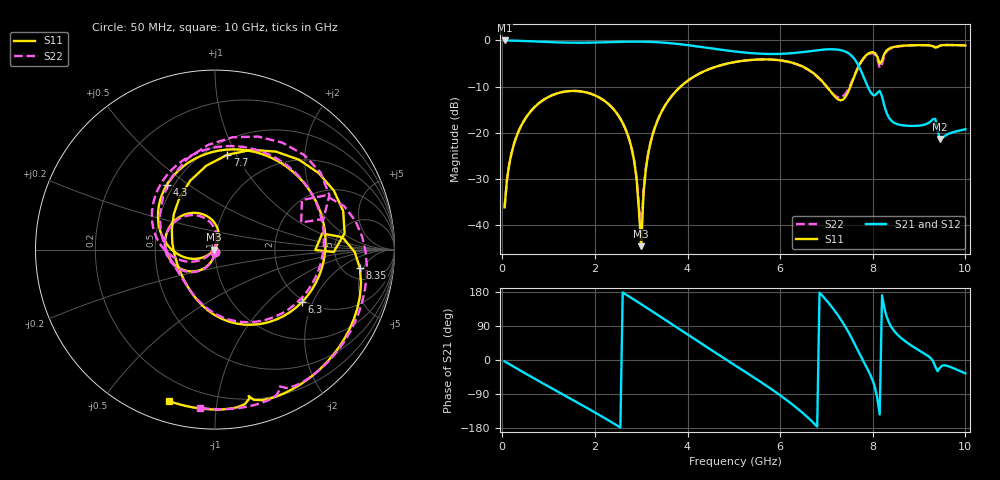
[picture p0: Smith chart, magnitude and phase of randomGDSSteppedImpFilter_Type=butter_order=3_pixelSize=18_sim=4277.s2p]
! freq	dB(S11)	phase(S11)	dB(S12)	phase(S12)
!  dB(S21)	phase(S21)	dB(S22)	phase(S22)
!S-par simulation data
#  GHz  S  DB  R 50
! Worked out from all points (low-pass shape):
!   200 points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, 50 MHz to 10 GHz, reference 50 ohm
!   highest |S21| = -0.01 dB at 50 MHz (marker M1); lowest = -21.3 dB at 9.45 GHz (marker M2)
!   |S21| within 3 dB of the highest: start of sweep to 7.507 GHz
!   lowest |S11| = -44.5 dB at 3 GHz (marker M3), VSWR 1.01, Z = 49.4 + j0.0277 ohm
!   |S11| at or under -10 dB: start of sweep to 3.848 GHz; 7.007 GHz to 7.515 GHz (507.6 MHz wide, 6.99 % of centre)
!   |S22| runs from -40.5 to -1.0 dB; largest |S21 - S12| = 0
!   S11 on the Smith chart (normalised r, x): 50 MHz: 1.00, -0.03; 4.3 GHz: 0.46, +0.42; 6.3 GHz: 1.95, -1.67; 7.7 GHz: 0.62, +0.92; 8.35 GHz: 7.06, -4.32; 10 GHz: 0.10, -0.73
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0.05  -36.09 -91.5  -0.01 -3.6  -0.01 -3.6  -36.09 -91.3
0.2  -24.33 -104.6  -0.04 -14.4  -0.04 -14.4  -24.33 -104.1
0.5  -16.86 -126.6  -0.14 -35.6  -0.14 -35.6  -16.86 -125.4
1.1  -11.76 -168.9  -0.40 -77.0  -0.40 -77.0  -11.76 -166.1
1.75  -11.11 146.3  -0.50 -121.1  -0.50 -121.1  -11.11 150.9
2.7  -20.19 78.3  -0.28 170.5  -0.28 170.5  -20.18 87.4
2.9  -29.92 67.6  -0.26 155.1  -0.26 155.1  -29.76 82.3
3  -44.48 177.3  -0.27 147.3  -0.27 147.3  -40.48 173.2
3.1  -27.80 -141.3  -0.29 139.4  -0.29 139.4  -27.63 -138.8
3.4  -16.24 -161.5  -0.42 115.3  -0.42 115.3  -16.22 -154.0
4.3  -6.94 126.6  -1.43 43.1  -1.43 43.1  -6.95 137.4
5.05  -4.62 68.1  -2.43 -15.8  -2.43 -15.8  -4.64 79.5
6.3  -4.94 -30.9  -2.72 -120.8  -2.72 -120.8  -4.98 -24.5
6.7  -6.94 -68.4  -2.24 -163.5  -2.24 -163.5  -7.04 -65.5
7.05  -10.53 -109.6  -1.92 150.0  -1.92 150.0  -10.57 -108.8
7.35  -12.85 -173.7  -2.21 99.3  -2.21 99.3  -12.17 -161.3
7.7  -5.48 82.7  -5.62 20.0  -5.62 20.0  -5.52 106.9
7.9  -2.88 36.4  -10.17 -27.2  -10.17 -27.2  -3.04 57.8
8.1  -3.59 -1.1  -11.33 -102.4  -11.33 -102.4  -4.05 15.8
8.35  -1.79 -7.3  -16.73 98.9  -16.73 98.9  -1.95 11.4
9.45  -1.14 -79.1  -21.31 -20.4  -21.31 -20.4  -1.10 -67.2
10  -1.09 -107.0  -19.20 -35.3  -19.20 -35.3  -1.06 -95.6
